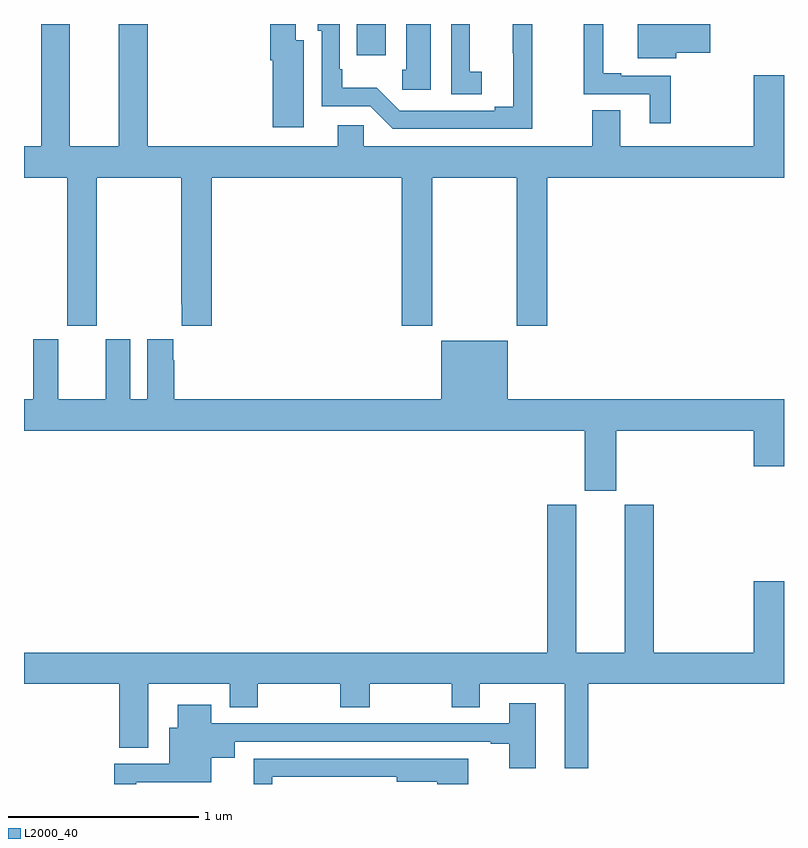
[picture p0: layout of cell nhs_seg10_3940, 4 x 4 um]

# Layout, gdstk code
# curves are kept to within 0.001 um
import gdstk
lib = gdstk.Library(unit=1e-6, precision=1e-09)
def R(c, l, rs):  # rectangles x0, y0, x1, y1
    for r in rs: c.add(gdstk.rectangle(r[:2], r[2:], *l))
def P(c, l, *ps):  # polygons
    for p in ps: c.add(gdstk.Polygon(p, *l))
L2000_40 = (2000, 40)

nhs_seg10_3940 = lib.new_cell('nhs_seg10_3940')
R(nhs_seg10_3940, L2000_40, [(330.752,1258.335,330.904,1258.5)])
P(nhs_seg10_3940, L2000_40, [(332.404,1258.227),(332.143,1258.227),(332.143,1258.24),(332.048,1258.24),(332.048,1258.5),(331.945,1258.5),(331.945,1258.131),(332.294,1258.131),(332.294,1257.978),(332.404,1257.978)],
  [(331.676,1258.5),(331.573,1258.5),(331.574,1258.064),(331.478,1258.064),(331.478,1258.044),(330.978,1258.044),(330.857,1258.165),(330.676,1258.165),(330.676,1258.261),(330.663,1258.261),(330.663,1258.5),(330.546,1258.5),(330.546,1258.464),(330.567,1258.464),(330.567,1258.068),(330.822,1258.068),(330.942,1257.948),(331.676,1257.948)],
  [(332.434,1258.349),(332.611,1258.349),(332.611,1258.5),(332.231,1258.5),(332.231,1258.319),(332.434,1258.319)],
  [(329.382,1257.692),(329.827,1257.692),(329.827,1257.025),(329.831,1257.025),(329.831,1256.913),(329.987,1256.913),(329.987,1257.692),(330.989,1257.692),(330.989,1256.913),(331.149,1256.913),(331.149,1257.692),(331.594,1257.692),(331.594,1256.913),(331.754,1256.913),(331.754,1257.692),(333,1257.692),(333,1258.231),(332.84,1258.231),(332.84,1257.856),(332.137,1257.856),(332.137,1258.046),(331.99,1258.046),(331.99,1257.856),(330.789,1257.856),(330.789,1257.966),(330.65,1257.966),(330.65,1257.856),(329.651,1257.856),(329.651,1258.5),(329.498,1258.5),(329.498,1257.856),(329.242,1257.856),(329.242,1258.5),(329.09,1258.5),(329.09,1257.856),(329,1257.856),(329,1257.692),(329.227,1257.692),(329.227,1256.913),(329.382,1256.913)],
  [(331.408,1258.249),(331.347,1258.249),(331.347,1258.5),(331.248,1258.5),(331.248,1258.129),(331.408,1258.129)],
  [(331.141,1258.5),(331.013,1258.5),(331.013,1258.26),(330.991,1258.26),(330.991,1258.155),(331.141,1258.155)],
  [(330.472,1258.414),(330.43,1258.414),(330.43,1258.5),(330.296,1258.5),(330.296,1258.31),(330.308,1258.31),(330.308,1257.957),(330.472,1257.957)],
  [(332.116,1256.36),(332.84,1256.36),(332.84,1256.172),(333,1256.172),(333,1256.524),(331.546,1256.524),(331.546,1256.833),(331.196,1256.833),(331.196,1256.524),(329.792,1256.524),(329.792,1256.729),(329.785,1256.729),(329.785,1256.842),(329.648,1256.842),(329.648,1256.524),(329.56,1256.524),(329.56,1256.842),(329.429,1256.842),(329.429,1256.524),(329.179,1256.524),(329.179,1256.842),(329.048,1256.842),(329.048,1256.524),(329,1256.524),(329,1256.36),(331.952,1256.36),(331.952,1256.043),(332.116,1256.043)],
  [(331.969,1255.028),(333,1255.028),(333,1255.567),(332.84,1255.567),(332.84,1255.192),(332.315,1255.192),(332.315,1255.971),(332.162,1255.971),(332.162,1255.192),(331.906,1255.192),(331.906,1255.971),(331.754,1255.971),(331.754,1255.192),(329,1255.192),(329,1255.028),(329.501,1255.028),(329.501,1254.691),(329.653,1254.691),(329.653,1255.028),(330.083,1255.028),(330.083,1254.904),(330.231,1254.904),(330.231,1255.028),(330.664,1255.028),(330.664,1254.904),(330.819,1254.904),(330.819,1255.028),(331.252,1255.028),(331.252,1254.904),(331.399,1254.904),(331.399,1255.028),(331.847,1255.028),(331.847,1254.582),(331.969,1254.582)],
  [(329.592,1254.51),(329.986,1254.51),(329.986,1254.638),(330.109,1254.638),(330.109,1254.723),(331.457,1254.723),(331.457,1254.711),(331.553,1254.711),(331.553,1254.582),(331.693,1254.582),(331.693,1254.925),(331.553,1254.925),(331.553,1254.819),(331.163,1254.819),(331.163,1254.821),(330.907,1254.821),(330.907,1254.819),(330.575,1254.819),(330.575,1254.821),(330.319,1254.821),(330.319,1254.819),(329.986,1254.819),(329.986,1254.916),(329.81,1254.916),(329.81,1254.796),(329.765,1254.796),(329.765,1254.606),(329.476,1254.606),(329.476,1254.5),(329.592,1254.5)],
  [(330.306,1254.537),(330.963,1254.537),(330.963,1254.512),(331.175,1254.512),(331.175,1254.5),(331.339,1254.5),(331.339,1254.634),(331.063,1254.634),(331.063,1254.633),(330.209,1254.633),(330.209,1254.5),(330.306,1254.5)])

lib.write_gds('nhs_seg10_3940.gds')
